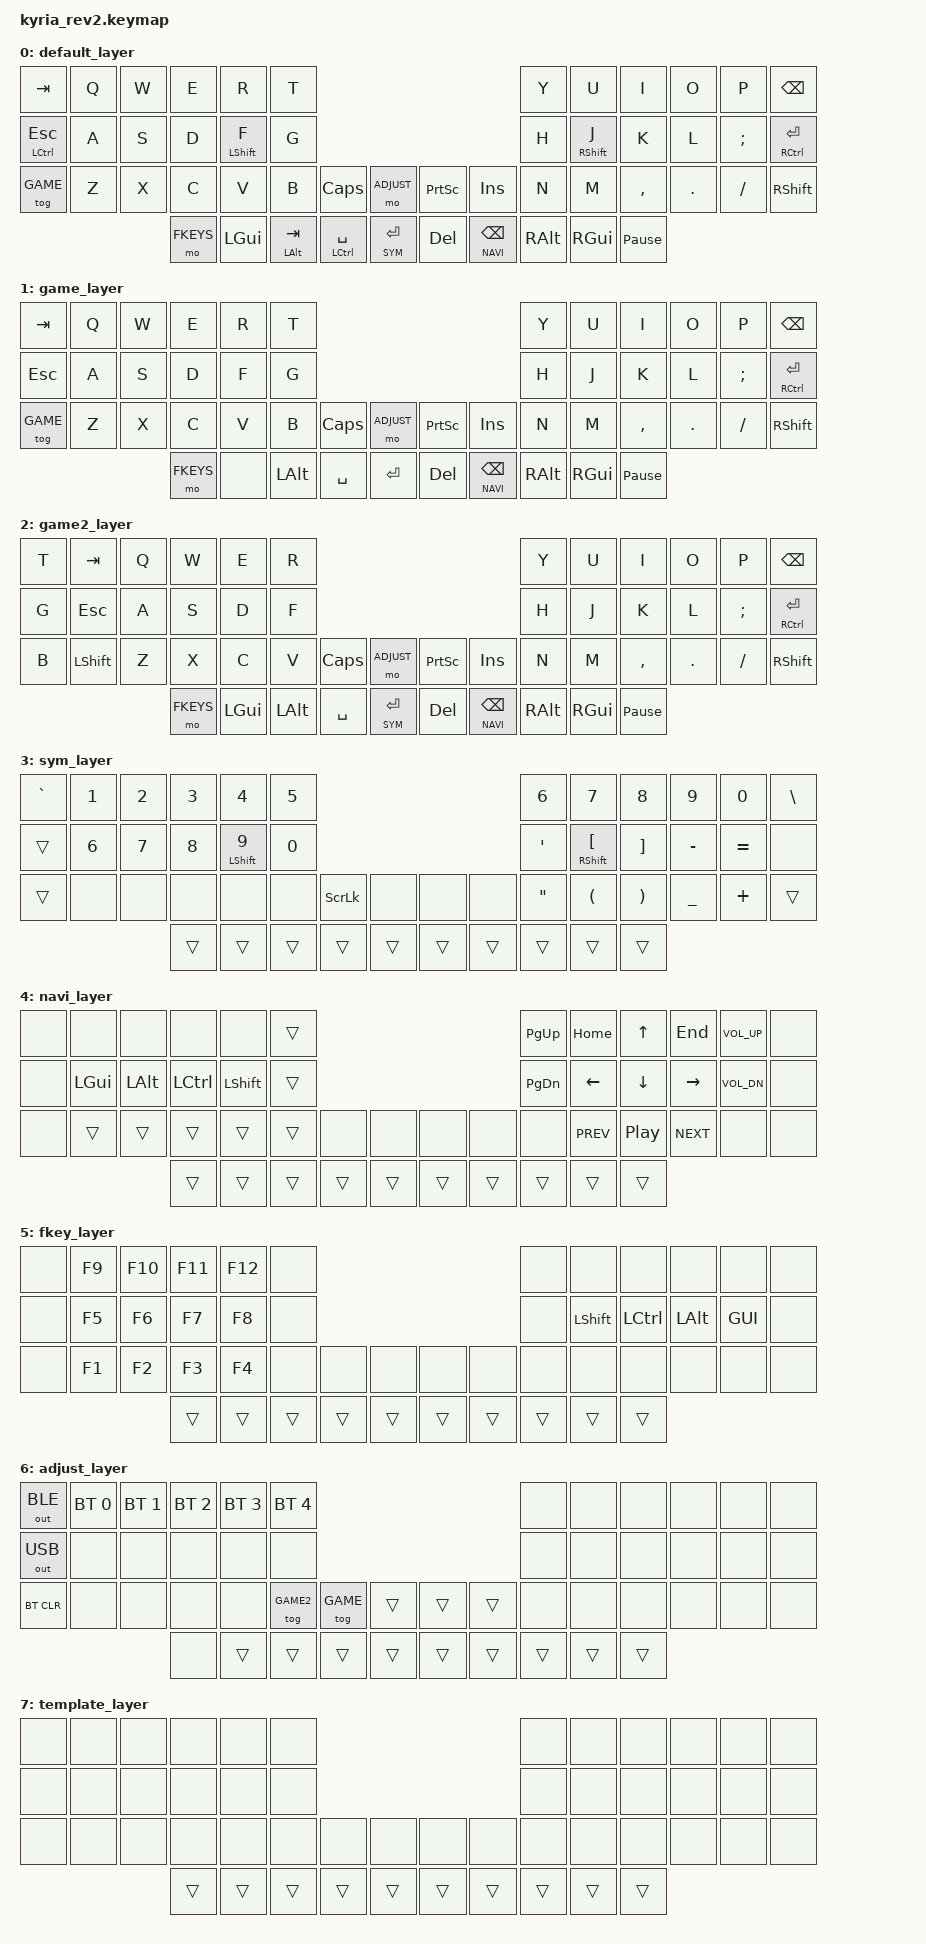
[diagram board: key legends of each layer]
#include <behaviors.dtsi>
#include <dt-bindings/zmk/keys.h>
#include <dt-bindings/zmk/bt.h>
#include <dt-bindings/zmk/outputs.h>


#define DEFAULT 0
#define GAME    1
#define GAME2   2
#define SYM     3
#define NAVI    4
#define FKEYS   5
#define ADJUST  6

/ {
  behaviors {
    bhm: balanced_homerow_mods {
      compatible = "zmk,behavior-hold-tap";
      label = "HOMEROW_MODS";
      #binding-cells = <2>;
      tapping-term-ms = <200>;    // <---[[moderate duration]]
      quick-tap-ms = <0>;
      flavor = "balanced";
      bindings = <&kp>, <&kp>;
    };
  };

  macros {
    warpd: warpd {
      label = "warpd";
      compatible = "zmk,behavior-macro";
      #binding-cells = <0>;
      bindings
      = <&macro_press &kp LCTRL>
      , <&macro_press &kp LALT>
      , <&macro_tap &kp G>
      , <&macro_release &kp LALT>
      , <&macro_release &kp LCTRL>
      ;
    };
  };

  keymap {
    compatible = "zmk,keymap";

    default_layer {
//  ┌╌╌╌╌╌╌┬╌╌╌╌╌╌┬╌╌╌╌╌╌┬╌╌╌╌╌╌┬╌╌╌╌╌╌┬╌╌╌╌╌╌┐                              ┌╌╌╌╌╌╌┬╌╌╌╌╌╌┬╌╌╌╌╌╌┬╌╌╌╌╌╌┬╌╌╌╌╌╌┬╌╌╌╌╌╌┐
//  ┆ TAB  ┆  Q   ┆  W   ┆  E   ┆  R   ┆  T   ┆                              ┆  Y   ┆  U   ┆  I   ┆  O   ┆  P   ┆ BSPC ┆
//  ┆      ┆      ┆      ┆      ┆      ┆      ┆                              ┆      ┆      ┆      ┆      ┆      ┆      ┆
//  ├╌╌╌╌╌╌╔══════╦══════╦══════╦══════╗╌╌╌╌╌╌┤                              ├╌╌╌╌╌╌╔══════╦══════╦══════╦══════╗╌╌╌╌╌╌┤
//  ┆ CTRL ║  A   ║  S   ║  D   ║  F   ║  G   ┆                              ┆  H   ║  J   ║  K   ║  L   ║  ;   ║ CTRL ┆
//  ┆ ESC  ║      ║      ║      ║ SHIFT║      ┆                              ┆      ║SHIFT ║      ║      ║  :   ║ RET  ┆
//  ├╌╌╌╌╌╌╚══════╩══════╩══════╩══════╝╌╌╌╌╌╌┼╌╌╌╌╌╌┬╌╌╌╌╌╌┐  ┌╌╌╌╌╌╌┬╌╌╌╌╌╌┼╌╌╌╌╌╌╚══════╩══════╩══════╩══════╝╌╌╌╌╌╌┤
//  ┆ GAME ┆  Z   ┆  X   ┆  C   ┆  V   ┆  B   ┆CAPS  ┆ADJUST┆  ┆PRINT ┆INSERT┆  N   ┆  M   ┆  <   ┆  >   ┆  ?   ┆SHIFT ┆
//  ┆      ┆      ┆      ┆      ┆      ┆      ┆  LOCK┆      ┆  ┆SCREEN┆      ┆      ┆      ┆  ,   ┆  .   ┆  /   ┆      ┆
//  └╌╌╌╌╌╌┴╌╌╌╌╌╌┴╌╌╌╌╌╌┼╌╌╌╌╌╌┼╌╌╌╌╌╌┼╌╌╌╌╌╌┼╌╌╌╌╌╌┼╌╌╌╌╌╌┆  ┆╌╌╌╌╌╌┼╌╌╌╌╌╌┼╌╌╌╌╌╌┼╌╌╌╌╌╌┼╌╌╌╌╌╌┼╌╌╌╌╌╌┴╌╌╌╌╌╌┴╌╌╌╌╌╌┘
//                       ┆ FKEYS┆  GUI ┆ LALT ┆ CTRL ┆  SYM ┆  ┆ DEL  ┆ NAVI ┆ RALT ┆ GUI  ┆PAUSE ┆
//                       ┆      ┆      ┆ TAB  ┆ SPACE┆ RET  ┆  ┆      ┆ BSPC ┆      ┆      ┆      ┆
//                       └╌╌╌╌╌╌┴╌╌╌╌╌╌┴╌╌╌╌╌╌┴╌╌╌╌╌╌┴╌╌╌╌╌╌┘  └╌╌╌╌╌╌┴╌╌╌╌╌╌┴╌╌╌╌╌╌┴╌╌╌╌╌╌┴╌╌╌╌╌╌┘
      bindings = <
    &kp TAB        &kp Q      &kp W       &kp E        &kp R         &kp T                                                                 &kp Y    &kp U          &kp I           &kp O      &kp P         &kp BSPC
    &mt LCTRL ESC  &kp A      &kp S       &kp D        &bhm LSHIFT F &kp G                                                                 &kp H    &bhm RSHIFT J  &kp K           &kp L      &kp SEMI      &mt RCTRL RET
    &tog GAME      &kp Z      &kp X       &kp C        &kp V         &kp B        &kp CLCK         &mo ADJUST      &kp PSCRN &kp INSERT    &kp N    &kp M          &kp COMMA       &kp DOT    &kp FSLH      &kp RSHIFT
                                          &mo FKEYS    &kp LGUI      &mt LALT TAB &bhm LCTRL SPACE &lt SYM RET     &kp DEL   &lt NAVI BSPC &kp RALT &kp RGUI       &kp PAUSE_BREAK
      >;
    };

    game_layer {
//  ┌╌╌╌╌╌╌┬╌╌╌╌╌╌┬╌╌╌╌╌╌┬╌╌╌╌╌╌┬╌╌╌╌╌╌┬╌╌╌╌╌╌┐                              ┌╌╌╌╌╌╌┬╌╌╌╌╌╌┬╌╌╌╌╌╌┬╌╌╌╌╌╌┬╌╌╌╌╌╌┬╌╌╌╌╌╌┐
//  ┆ TAB  ┆  Q   ┆  W   ┆  E   ┆  R   ┆  T   ┆                              ┆  Y   ┆  U   ┆  I   ┆  O   ┆  P   ┆ BSPC ┆
//  ┆      ┆      ┆      ┆      ┆      ┆      ┆                              ┆      ┆      ┆      ┆      ┆      ┆      ┆
//  ├╌╌╌╌╌╌╔══════╦══════╦══════╦══════╗╌╌╌╌╌╌┤                              ├╌╌╌╌╌╌╔══════╦══════╦══════╦══════╗╌╌╌╌╌╌┤
//  ┆      ║  A   ║  S   ║  D   ║  F   ║  G   ┆                              ┆  H   ║  J   ║  K   ║  L   ║  :   ║ CTRL ┆
//  ┆ ESC  ║      ║      ║      ║  _   ║      ┆                              ┆      ║  _   ║      ║      ║  ;   ║ RET  ┆
//  ├╌╌╌╌╌╌╚══════╩══════╩══════╩══════╝╌╌╌╌╌╌┼╌╌╌╌╌╌┬╌╌╌╌╌╌┐  ┌╌╌╌╌╌╌┬╌╌╌╌╌╌┼╌╌╌╌╌╌╚══════╩══════╩══════╩══════╝╌╌╌╌╌╌┤
//  ┆ GAME ┆  Z   ┆  X   ┆  C   ┆  V   ┆  B   ┆CAPS  ┆ADJUST┆  ┆PRINT ┆INSERT┆  N   ┆  M   ┆  <   ┆  >   ┆  ?   ┆SHIFT ┆
//  ┆      ┆      ┆      ┆      ┆      ┆      ┆  LOCK┆      ┆  ┆SCREEN┆      ┆      ┆      ┆  ,   ┆  .   ┆  /   ┆      ┆
//  └╌╌╌╌╌╌┴╌╌╌╌╌╌┴╌╌╌╌╌╌┼╌╌╌╌╌╌┼╌╌╌╌╌╌┼╌╌╌╌╌╌┼╌╌╌╌╌╌┼╌╌╌╌╌╌┆  ┆╌╌╌╌╌╌┼╌╌╌╌╌╌┼╌╌╌╌╌╌┼╌╌╌╌╌╌┼╌╌╌╌╌╌┼╌╌╌╌╌╌┴╌╌╌╌╌╌┴╌╌╌╌╌╌┘
//                       ┆ FKEYS┆  GUI ┆ LALT ┆      ┆      ┆  ┆ DEL  ┆ NAVI ┆ RALT ┆ GUI  ┆PAUSE ┆
//                       ┆      ┆      ┆      ┆ SPACE┆ RET  ┆  ┆      ┆ BSPC ┆      ┆      ┆      ┆
//                       └╌╌╌╌╌╌┴╌╌╌╌╌╌┴╌╌╌╌╌╌┴╌╌╌╌╌╌┴╌╌╌╌╌╌┘  └╌╌╌╌╌╌┴╌╌╌╌╌╌┴╌╌╌╌╌╌┴╌╌╌╌╌╌┴╌╌╌╌╌╌┘
      bindings = <
    &kp TAB        &kp Q  &kp W  &kp E      &kp R    &kp T                                                             &kp Y    &kp U    &kp I      &kp O   &kp P    &kp BSPC
    &kp ESC        &kp A  &kp S  &kp D      &kp F    &kp G                                                             &kp H    &kp J    &kp K      &kp L   &kp SEMI &mt RCTRL RET
    &tog GAME      &kp Z  &kp X  &kp C      &kp V    &kp B     &kp CLCK  &mo ADJUST   &kp PSCRN &kp INSERT    &kp N    &kp M    &kp COMMA  &kp DOT &kp FSLH &kp RSHIFT
                                 &mo FKEYS  &none    &kp LALT  &kp SPACE &kp RET      &kp DEL   &lt NAVI BSPC &kp RALT &kp RGUI &kp PAUSE_BREAK
      >;
    };

    game2_layer {
//  Similar to GAME layer, but shifts left hand keys 1 position to the right, so that WASD is under middle fingers. Useful for games that do not support rebinding keys.
//  ┌╌╌╌╌╌╌┬╌╌╌╌╌╌┬╌╌╌╌╌╌┬╌╌╌╌╌╌┬╌╌╌╌╌╌┬╌╌╌╌╌╌┐                              ┌╌╌╌╌╌╌┬╌╌╌╌╌╌┬╌╌╌╌╌╌┬╌╌╌╌╌╌┬╌╌╌╌╌╌┬╌╌╌╌╌╌┐
//  ┆  T   ┆ TAB  ┆  Q   ┆  W   ┆  E   ┆  R   ┆                              ┆  Y   ┆  U   ┆  I   ┆  O   ┆  P   ┆ BSPC ┆
//  ┆      ┆      ┆      ┆      ┆      ┆      ┆                              ┆      ┆      ┆      ┆      ┆      ┆      ┆
//  ├╌╌╌╌╌╌╔══════╦══════╦══════╦══════╗╌╌╌╌╌╌┤                              ├╌╌╌╌╌╌╔══════╦══════╦══════╦══════╗╌╌╌╌╌╌┤
//  ┆  G   ║ ESC  ║  A   ║  S   ║  D   ║  F   ┆                              ┆  H   ║  J   ║  K   ║  L   ║  :   ║ CTRL ┆
//  ┆      ║      ║      ║      ║  _   ║      ┆                              ┆      ║  _   ║      ║      ║  ;   ║ RET  ┆
//  ├╌╌╌╌╌╌╚══════╩══════╩══════╩══════╝╌╌╌╌╌╌┼╌╌╌╌╌╌┬╌╌╌╌╌╌┐  ┌╌╌╌╌╌╌┬╌╌╌╌╌╌┼╌╌╌╌╌╌╚══════╩══════╩══════╩══════╝╌╌╌╌╌╌┤
//  ┆  B   ┆ SHIFT┆  Z   ┆  X   ┆  C   ┆  V   ┆CAPS  ┆ADJUST┆  ┆PRINT ┆INSERT┆  N   ┆  M   ┆  <   ┆  >   ┆  ?   ┆SHIFT ┆
//  ┆      ┆      ┆      ┆      ┆      ┆      ┆  LOCK┆      ┆  ┆SCREEN┆      ┆      ┆      ┆  ,   ┆  .   ┆  /   ┆      ┆
//  └╌╌╌╌╌╌┴╌╌╌╌╌╌┴╌╌╌╌╌╌┼╌╌╌╌╌╌┼╌╌╌╌╌╌┼╌╌╌╌╌╌┼╌╌╌╌╌╌┼╌╌╌╌╌╌┆  ┆╌╌╌╌╌╌┼╌╌╌╌╌╌┼╌╌╌╌╌╌┼╌╌╌╌╌╌┼╌╌╌╌╌╌┼╌╌╌╌╌╌┴╌╌╌╌╌╌┴╌╌╌╌╌╌┘
//                       ┆ FKEYS┆  GUI ┆ LALT ┆      ┆  SYM ┆  ┆ DEL  ┆ NAVI ┆ RALT ┆ GUI  ┆PAUSE ┆
//                       ┆      ┆      ┆      ┆ SPACE┆ RET  ┆  ┆      ┆ BSPC ┆      ┆      ┆      ┆
//                       └╌╌╌╌╌╌┴╌╌╌╌╌╌┴╌╌╌╌╌╌┴╌╌╌╌╌╌┴╌╌╌╌╌╌┘  └╌╌╌╌╌╌┴╌╌╌╌╌╌┴╌╌╌╌╌╌┴╌╌╌╌╌╌┴╌╌╌╌╌╌┘
      bindings = <
    &kp T   &kp TAB    &kp Q  &kp W      &kp E     &kp R                                                               &kp Y    &kp U      &kp I      &kp O   &kp P    &kp BSPC
    &kp G   &kp ESC    &kp A  &kp S      &kp D     &kp F                                                               &kp H    &kp J      &kp K      &kp L   &kp SEMI &mt RCTRL RET
    &kp B   &kp LSHFT  &kp Z  &kp X      &kp C     &kp V     &kp CLCK  &mo ADJUST     &kp PSCRN &kp INSERT    &kp N    &kp M    &kp COMMA  &kp DOT &kp FSLH &kp RSHIFT
                              &mo FKEYS  &kp LGUI  &kp LALT  &kp SPACE &lt SYM RET    &kp DEL   &lt NAVI BSPC &kp RALT &kp RGUI &kp PAUSE_BREAK
      >;
    };

    sym_layer {
//  ┌╌╌╌╌╌╌┬╌╌╌╌╌╌┬╌╌╌╌╌╌┬╌╌╌╌╌╌┬╌╌╌╌╌╌┬╌╌╌╌╌╌┐                              ┌╌╌╌╌╌╌┬╌╌╌╌╌╌┬╌╌╌╌╌╌┬╌╌╌╌╌╌┬╌╌╌╌╌╌┬╌╌╌╌╌╌┐
//  ┆   ~  ┆  !   ┆  @   ┆  #   ┆  $   ┆  %   ┆                              ┆  ^   ┆  &   ┆  *   ┆  (   ┆  )   ┆  ┆   ┆
//  ┆   `  ┆  1   ┆  2   ┆  3   ┆  4   ┆  5   ┆                              ┆  6   ┆  7   ┆  8   ┆  9   ┆  0   ┆  \   ┆
//  ├╌╌╌╌╌╌╔══════╦══════╦══════╦══════╗╌╌╌╌╌╌┤                              ├╌╌╌╌╌╌╔══════╦══════╦══════╦══════╗╌╌╌╌╌╌┤
//  ┆      ║      ║      ║      ║      ║      ┆                              ┆  "   ║  {   ║  }   ║  _   ║  +   ║      ┆
//  ┆      ║  6   ║  7   ║  8   ║  9   ║  0   ┆                              ┆  '   ║  [   ║  ]   ║  -   ║  =   ║      ┆
//  ├╌╌╌╌╌╌╚══════╩══════╩══════╩══════╝╌╌╌╌╌╌┼╌╌╌╌╌╌┬╌╌╌╌╌╌┐  ┌╌╌╌╌╌╌┬╌╌╌╌╌╌┼╌╌╌╌╌╌╚══════╩══════╩══════╩══════╝╌╌╌╌╌╌┤
//  ┆      ┆      ┆      ┆      ┆      ┆      ┆SCROLL┆      ┆  ┆      ┆      ┆      ┆      ┆      ┆      ┆      ┆      ┆
//  ┆      ┆      ┆      ┆      ┆      ┆      ┆  LOCK┆      ┆  ┆      ┆      ┆  "   ┆  (   ┆  )   ┆  _   ┆  +   ┆      ┆
//  └╌╌╌╌╌╌┴╌╌╌╌╌╌┴╌╌╌╌╌╌┼╌╌╌╌╌╌┼╌╌╌╌╌╌┼╌╌╌╌╌╌┼╌╌╌╌╌╌┼╌╌╌╌╌╌┆  ┆╌╌╌╌╌╌┼╌╌╌╌╌╌┼╌╌╌╌╌╌┼╌╌╌╌╌╌┼╌╌╌╌╌╌┼╌╌╌╌╌╌┴╌╌╌╌╌╌┴╌╌╌╌╌╌┘
//                       ┆      ┆      ┆      ┆      ┆      ┆  ┆      ┆      ┆      ┆      ┆      ┆
//                       ┆      ┆      ┆      ┆      ┆      ┆  ┆      ┆      ┆      ┆      ┆      ┆
//                       └╌╌╌╌╌╌┴╌╌╌╌╌╌┴╌╌╌╌╌╌┴╌╌╌╌╌╌┴╌╌╌╌╌╌┘  └╌╌╌╌╌╌┴╌╌╌╌╌╌┴╌╌╌╌╌╌┴╌╌╌╌╌╌┴╌╌╌╌╌╌┘

      bindings = <
    &kp GRAV  &kp N1 &kp N2 &kp N3 &kp N4         &kp N5                                      &kp N6  &kp N7           &kp N8   &kp N9         &kp N0    &kp BSLH
    &trans    &kp N6 &kp N7 &kp N8 &bhm LSHIFT N9 &kp N0                                      &kp SQT &bhm RSHIFT LBKT &kp RBKT &kp MINUS      &kp EQUAL &none
    &trans    &none  &none  &none  &none          &none  &kp SLCK &none         &none  &none  &kp DQT &kp LPAR         &kp RPAR &kp UNDERSCORE &kp PLUS  &trans
                            &trans &trans         &trans &trans   &trans        &trans &trans &trans  &trans           &trans
      >;
    };

    navi_layer {
//  ┌╌╌╌╌╌╌┬╌╌╌╌╌╌┬╌╌╌╌╌╌┬╌╌╌╌╌╌┬╌╌╌╌╌╌┬╌╌╌╌╌╌┐                              ┌╌╌╌╌╌╌┬╌╌╌╌╌╌┬╌╌╌╌╌╌┬╌╌╌╌╌╌┬╌╌╌╌╌╌┬╌╌╌╌╌╌┐
//  ┆      ┆      ┆      ┆      ┆      ┆      ┆                              ┆ PGUP ┆ HOME ┆  ⬆   ┆ END  ┆VOL UP┆      ┆
//  ┆      ┆      ┆      ┆      ┆      ┆      ┆                              ┆      ┆      ┆      ┆      ┆      ┆      ┆
//  ├╌╌╌╌╌╌╔══════╦══════╦══════╦══════╗╌╌╌╌╌╌┤                              ├╌╌╌╌╌╌╔══════╦══════╦══════╦══════╗╌╌╌╌╌╌┤
//  ┆      ║ GUI  ║ ALT  ║ CTRL ║ SHIFT║      ┆                              ┆ PGDN ║  ⬅   ║  ⬇   ║  ➡   ║VOL DN║      ┆
//  ┆      ║      ║      ║      ║      ║      ┆                              ┆      ║      ║      ║      ║      ║      ┆
//  ├╌╌╌╌╌╌╚══════╩══════╩══════╩══════╝╌╌╌╌╌╌┼╌╌╌╌╌╌┬╌╌╌╌╌╌┐  ┌╌╌╌╌╌╌┬╌╌╌╌╌╌┼╌╌╌╌╌╌╚══════╩══════╩══════╩══════╝╌╌╌╌╌╌┤
//  ┆      ┆      ┆      ┆      ┆      ┆      ┆      ┆      ┆  ┆      ┆      ┆      ┆MPREV ┆MPAUSE┆MNEXT ┆      ┆      ┆
//  ┆      ┆      ┆      ┆      ┆      ┆      ┆      ┆      ┆  ┆      ┆      ┆      ┆      ┆      ┆      ┆      ┆      ┆
//  └╌╌╌╌╌╌┴╌╌╌╌╌╌┴╌╌╌╌╌╌┼╌╌╌╌╌╌┼╌╌╌╌╌╌┼╌╌╌╌╌╌┼╌╌╌╌╌╌┼╌╌╌╌╌╌┆  ┆╌╌╌╌╌╌┼╌╌╌╌╌╌┼╌╌╌╌╌╌┼╌╌╌╌╌╌┼╌╌╌╌╌╌┼╌╌╌╌╌╌┴╌╌╌╌╌╌┴╌╌╌╌╌╌┘
//                       ┆      ┆      ┆      ┆      ┆      ┆  ┆      ┆      ┆      ┆      ┆      ┆
//                       ┆      ┆      ┆      ┆      ┆      ┆  ┆      ┆      ┆      ┆      ┆      ┆
//                       └╌╌╌╌╌╌┴╌╌╌╌╌╌┴╌╌╌╌╌╌┴╌╌╌╌╌╌┴╌╌╌╌╌╌┘  └╌╌╌╌╌╌┴╌╌╌╌╌╌┴╌╌╌╌╌╌┴╌╌╌╌╌╌┴╌╌╌╌╌╌┘

      bindings = <
    &none  &none    &none     &none      &none       &trans                                    &kp PG_UP  &kp HOME   &kp UP    &kp END    &kp C_VOL_UP  &none
    &none  &kp LGUI &kp LALT  &kp LCTRL  &kp LSHIFT  &trans                                    &kp PG_DN  &kp LEFT   &kp DOWN  &kp RIGHT  &kp C_VOL_DN  &none
    &none  &trans   &trans    &trans     &trans      &trans &none  &none         &none  &none  &none      &kp C_PREV &kp C_PP  &kp C_NEXT &none         &none
                              &trans     &trans      &trans &trans &trans        &trans &trans &trans     &trans     &trans
      >;
    };


    fkey_layer {
//  ┌╌╌╌╌╌╌┬╌╌╌╌╌╌┬╌╌╌╌╌╌┬╌╌╌╌╌╌┬╌╌╌╌╌╌┬╌╌╌╌╌╌┐                              ┌╌╌╌╌╌╌┬╌╌╌╌╌╌┬╌╌╌╌╌╌┬╌╌╌╌╌╌┬╌╌╌╌╌╌┬╌╌╌╌╌╌┐
//  ┆      ┆  F9  ┆ F10  ┆  F11 ┆ F12  ┆PRINT ┆                              ┆      ┆      ┆      ┆      ┆      ┆      ┆
//  ┆      ┆      ┆      ┆      ┆      ┆SCREEN┆                              ┆      ┆      ┆      ┆      ┆      ┆      ┆
//  ├╌╌╌╌╌╌╔══════╦══════╦══════╦══════╗╌╌╌╌╌╌┤                              ├╌╌╌╌╌╌╔══════╦══════╦══════╦══════╗╌╌╌╌╌╌┤
//  ┆      ║  F5  ║  F6  ║  F7  ║  F8  ║      ┆                              ┆      ║SHIFT ║ CTRL ║ ALT  ║ GUI  ║      ┆
//  ┆      ║      ║      ║      ║      ║      ┆                              ┆      ║      ║      ║      ║      ║      ┆
//  ├╌╌╌╌╌╌╚══════╩══════╩══════╩══════╝╌╌╌╌╌╌┼╌╌╌╌╌╌┬╌╌╌╌╌╌┐  ┌╌╌╌╌╌╌┬╌╌╌╌╌╌┼╌╌╌╌╌╌╚══════╩══════╩══════╩══════╝╌╌╌╌╌╌┤
//  ┆      ┆  F1  ┆  F2  ┆  F3  ┆  F4  ┆      ┆      ┆      ┆  ┆      ┆      ┆      ┆      ┆      ┆      ┆      ┆      ┆
//  ┆      ┆      ┆      ┆      ┆      ┆      ┆      ┆      ┆  ┆      ┆      ┆      ┆      ┆      ┆      ┆      ┆      ┆
//  └╌╌╌╌╌╌┴╌╌╌╌╌╌┴╌╌╌╌╌╌┼╌╌╌╌╌╌┼╌╌╌╌╌╌┼╌╌╌╌╌╌┼╌╌╌╌╌╌┼╌╌╌╌╌╌┆  ┆╌╌╌╌╌╌┼╌╌╌╌╌╌┼╌╌╌╌╌╌┼╌╌╌╌╌╌┼╌╌╌╌╌╌┼╌╌╌╌╌╌┴╌╌╌╌╌╌┴╌╌╌╌╌╌┘
//                       ┆      ┆      ┆      ┆      ┆      ┆  ┆      ┆      ┆      ┆      ┆      ┆
//                       ┆      ┆      ┆      ┆      ┆      ┆  ┆      ┆      ┆      ┆      ┆      ┆
//                       └╌╌╌╌╌╌┴╌╌╌╌╌╌┴╌╌╌╌╌╌┴╌╌╌╌╌╌┴╌╌╌╌╌╌┘  └╌╌╌╌╌╌┴╌╌╌╌╌╌┴╌╌╌╌╌╌┴╌╌╌╌╌╌┴╌╌╌╌╌╌┘
            bindings = <
    &none  &kp F9  &kp F10  &kp F11  &kp F12  &none                                     &none  &none       &none      &none     &none    &none
    &none  &kp F5  &kp F6   &kp F7   &kp F8   &none                                     &none  &kp LSHIFT  &kp LCTRL  &kp LALT  &kp GUI  &none
    &none  &kp F1  &kp F2   &kp F3   &kp F4   &none  &none  &none         &none  &none  &none  &none       &none      &none     &none    &none
                            &trans   &trans   &trans &trans &trans        &trans &trans &trans &trans      &trans
      >;
    };


    adjust_layer {
//  ┌╌╌╌╌╌╌┬╌╌╌╌╌╌┬╌╌╌╌╌╌┬╌╌╌╌╌╌┬╌╌╌╌╌╌┬╌╌╌╌╌╌┐                              ┌╌╌╌╌╌╌┬╌╌╌╌╌╌┬╌╌╌╌╌╌┬╌╌╌╌╌╌┬╌╌╌╌╌╌┬╌╌╌╌╌╌┐
//  ┆  BLE ┆  BT0 ┆  BT1 ┆  BT2 ┆  BT3 ┆  BT4 ┆                              ┆      ┆      ┆      ┆      ┆      ┆      ┆
//  ┆      ┆      ┆      ┆      ┆      ┆      ┆                              ┆      ┆      ┆      ┆      ┆      ┆      ┆
//  ├╌╌╌╌╌╌╔══════╦══════╦══════╦══════╗╌╌╌╌╌╌┤                              ├╌╌╌╌╌╌╔══════╦══════╦══════╦══════╗╌╌╌╌╌╌┤
//  ┆  USB ║      ║      ║      ║      ║      ┆                              ┆      ║      ║      ║      ║      ║      ┆
//  ┆      ║      ║      ║      ║      ║      ┆                              ┆      ║      ║      ║      ║      ║      ┆
//  ├╌╌╌╌╌╌╚══════╩══════╩══════╩══════╝╌╌╌╌╌╌┼╌╌╌╌╌╌┬╌╌╌╌╌╌┐  ┌╌╌╌╌╌╌┬╌╌╌╌╌╌┼╌╌╌╌╌╌╚══════╩══════╩══════╩══════╝╌╌╌╌╌╌┤
//  ┆BT_CLR┆      ┆      ┆      ┆      ┆ GAME2┆ GAME ┆      ┆  ┆      ┆      ┆      ┆      ┆      ┆      ┆      ┆      ┆
//  ┆      ┆      ┆      ┆      ┆      ┆      ┆      ┆      ┆  ┆      ┆      ┆      ┆      ┆      ┆      ┆      ┆      ┆
//  └╌╌╌╌╌╌┴╌╌╌╌╌╌┴╌╌╌╌╌╌┼╌╌╌╌╌╌┼╌╌╌╌╌╌┼╌╌╌╌╌╌┼╌╌╌╌╌╌┼╌╌╌╌╌╌┆  ┆╌╌╌╌╌╌┼╌╌╌╌╌╌┼╌╌╌╌╌╌┼╌╌╌╌╌╌┼╌╌╌╌╌╌┼╌╌╌╌╌╌┴╌╌╌╌╌╌┴╌╌╌╌╌╌┘
//                       ┆      ┆      ┆      ┆      ┆      ┆  ┆      ┆      ┆      ┆      ┆      ┆
//                       ┆      ┆      ┆      ┆      ┆      ┆  ┆      ┆      ┆      ┆      ┆      ┆
//                       └╌╌╌╌╌╌┴╌╌╌╌╌╌┴╌╌╌╌╌╌┴╌╌╌╌╌╌┴╌╌╌╌╌╌┘  └╌╌╌╌╌╌┴╌╌╌╌╌╌┴╌╌╌╌╌╌┴╌╌╌╌╌╌┴╌╌╌╌╌╌┘

      bindings = <
    &out OUT_BLE  &bt BT_SEL 0 &bt BT_SEL 1 &bt BT_SEL 2 &bt BT_SEL 3 &bt BT_SEL 4                                         &none  &none  &none  &none  &none  &none
    &out OUT_USB  &none        &none        &none        &none        &none                                                &none  &none  &none  &none  &none  &none
    &bt BT_CLR    &none        &none        &none        &none        &tog GAME2   &tog GAME &trans          &trans &trans &none  &none  &none  &none  &none  &none
                                            &none        &trans       &trans       &trans    &trans          &trans &trans &trans &trans &trans
      >;
    };


    template_layer {
//  ┌╌╌╌╌╌╌╌╌╌╌╌╌╌╌╌╌╌╌╌╌╌╌╌╌╌╌╌╌╌╌╌╌╌╌╌╌╌╌╌╌╌┐                              ┌╌╌╌╌╌╌╌╌╌╌╌╌╌╌╌╌╌╌╌╌╌╌╌╌╌╌╌╌╌╌╌╌╌╌╌╌╌╌╌╌╌┐
//  ┆      ┆      ┆      ┆      ┆      ┆      ┆                              ┆      ┆      ┆      ┆      ┆      ┆      ┆
//  ┆      ┆      ┆      ┆      ┆      ┆      ┆                              ┆      ┆      ┆      ┆      ┆      ┆      ┆
//  ├╌╌╌╌╌╌╔══════╦══════╦══════╦══════╗╌╌╌╌╌╌┤                              ├╌╌╌╌╌╌╔══════╦══════╦══════╦══════╗╌╌╌╌╌╌┤
//  ┆      ║      ║      ║      ║      ║      ┆                              ┆      ║      ║      ║      ║      ║      ┆
//  ┆      ║      ║      ║      ║      ║      ┆                              ┆      ║      ║      ║      ║      ║      ┆
//  ├╌╌╌╌╌╌╚══════╩══════╩══════╩══════╝╌╌╌╌╌╌┼╌╌╌╌╌╌┬╌╌╌╌╌╌┐  ┌╌╌╌╌╌╌┬╌╌╌╌╌╌┼╌╌╌╌╌╌╚══════╩══════╩══════╩══════╝╌╌╌╌╌╌┤
//  ┆      ┆      ┆      ┆      ┆      ┆      ┆      ┆      ┆  ┆      ┆      ┆      ┆      ┆      ┆      ┆      ┆      ┆
//  ┆      ┆      ┆      ┆      ┆      ┆      ┆      ┆      ┆  ┆      ┆      ┆      ┆      ┆      ┆      ┆      ┆      ┆
//  └╌╌╌╌╌╌┴╌╌╌╌╌╌┴╌╌╌╌╌╌┼╌╌╌╌╌╌┼╌╌╌╌╌╌┼╌╌╌╌╌╌┼╌╌╌╌╌╌┼╌╌╌╌╌╌┆  ┆╌╌╌╌╌╌┼╌╌╌╌╌╌┼╌╌╌╌╌╌┼╌╌╌╌╌╌┼╌╌╌╌╌╌┼╌╌╌╌╌╌┴╌╌╌╌╌╌┴╌╌╌╌╌╌┘
//                       ┆      ┆      ┆      ┆      ┆      ┆  ┆      ┆      ┆      ┆      ┆      ┆
//                       ┆      ┆      ┆      ┆      ┆      ┆  ┆      ┆      ┆      ┆      ┆      ┆
//                       └╌╌╌╌╌╌┴╌╌╌╌╌╌┴╌╌╌╌╌╌┴╌╌╌╌╌╌┴╌╌╌╌╌╌┘  └╌╌╌╌╌╌┴╌╌╌╌╌╌┴╌╌╌╌╌╌┴╌╌╌╌╌╌┴╌╌╌╌╌╌┘
            bindings = <
    &none  &none  &none  &none  &none  &none                                     &none  &none  &none  &none  &none  &none
    &none  &none  &none  &none  &none  &none                                     &none  &none  &none  &none  &none  &none
    &none  &none  &none  &none  &none  &none  &none  &none         &none  &none  &none  &none  &none  &none  &none  &none
                         &trans &trans &trans &trans &trans        &trans &trans &trans &trans &trans
      >;
    };

  };
};

/ {
  combos {
    compatible = "zmk,combos";

    combo_caps_word {
      timeout-ms = <50>;
      // LSHIFT + RSHIFT
      key-positions = <24 39>;
      bindings = <&caps_word>;
    };

    combo_warpd {
      timeout-ms = <50>;
      // LALT + RALT
      key-positions = <42 47>;
      bindings = <&warpd>;
    };
  };
};
